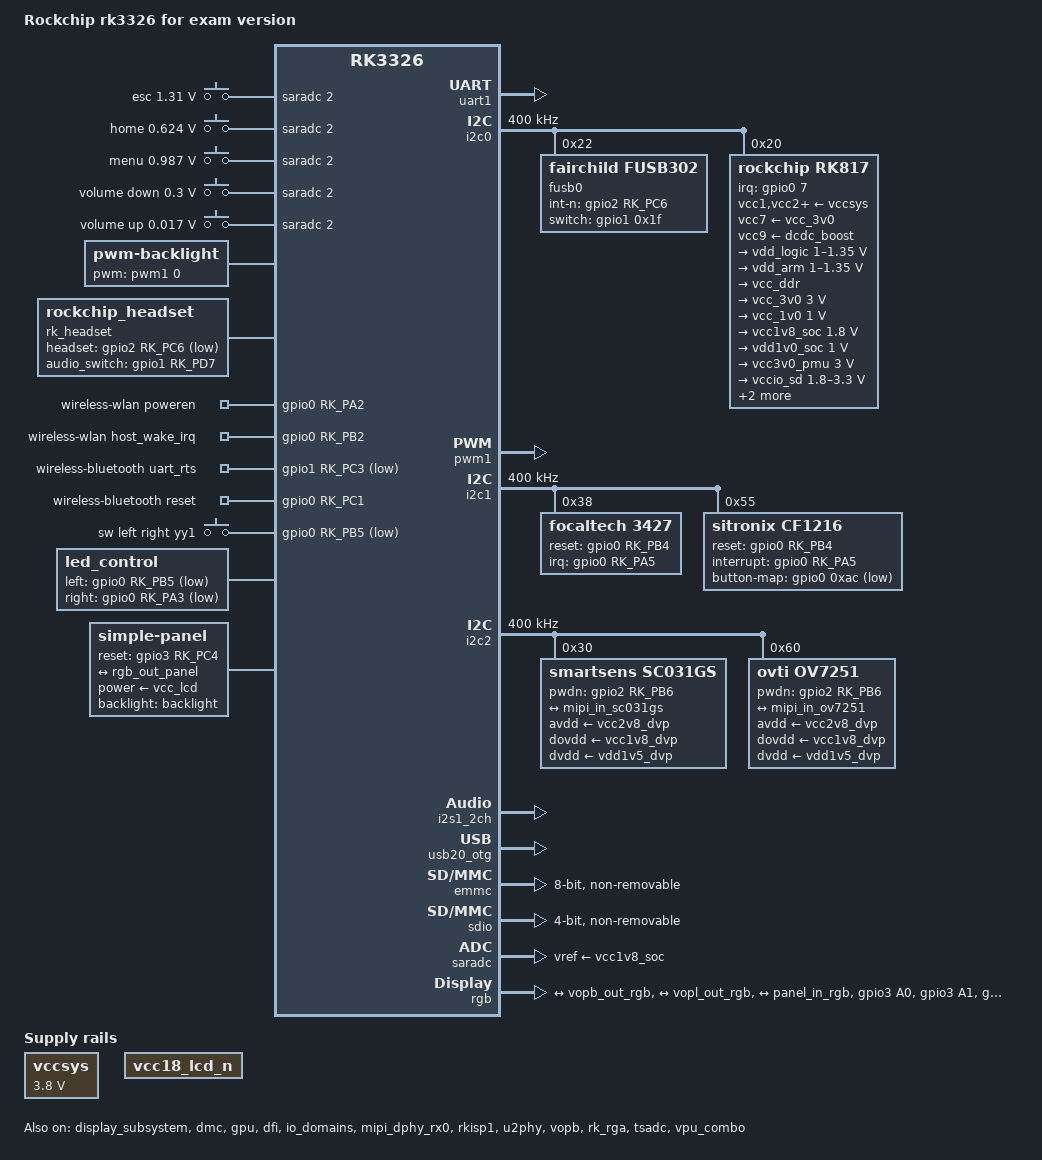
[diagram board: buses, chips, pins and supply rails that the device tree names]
/dts-v1/;
#include <dt-bindings/display/drm_mipi_dsi.h>
#include <dt-bindings/gpio/gpio.h>
#include <dt-bindings/input/input.h>
#include <dt-bindings/pinctrl/rockchip.h>
#include <dt-bindings/sensor-dev.h>
#include "rk3326.dtsi"
#include "rk3326-linux.dtsi"
#include "rk3326-youdao-exam-dram.dtsi"
/ {
	model = "Rockchip rk3326 for exam version";
    compatible = "rockchip,rk3326-youdao-exam","rockchip,rk3326";

	chosen {
		bootargs = "earlycon=uart8250,mmio32,0xff160000 swiotlb=1 console=ttyFIQ0 root=PARTUUID=614e0000-0000 rootfstype=ext4 rootwait snd_aloop.index=7 snd_aloop.use_raw_jiffies=1";
	};

    adc-keys {
		compatible = "adc-keys";
		io-channels = <&saradc 2>;
		io-channel-names = "buttons";
		stop-enter-recovery = <1>;
		poll-interval = <0x100>;
		keyup-threshold-microvolt = <1800000>;

		esc-key {
			linux,code = <KEY_ESC>;
			label = "esc";
			press-threshold-microvolt = <1310000>;
		};

		home-key {
			linux,code = <KEY_HOME>;
			label = "home";
			press-threshold-microvolt = <624000>;
		};

		menu-key {
			linux,code = <KEY_MENU>;
			label = "menu";
			press-threshold-microvolt = <987000>;
		};

		vol-down-key {
			linux,code = <KEY_VOLUMEDOWN>;
			label = "volume down";
			press-threshold-microvolt = <300000>;
		};

		vol-up-key {
			linux,code = <KEY_VOLUMEUP>;
			label = "volume up";
			press-threshold-microvolt = <17000>;
		};
	};

    backlight: backlight {
		compatible = "pwm-backlight";
		pwms = <&pwm1 0 25000 0>;
		brightness-levels = <
			  0   1   2   3   4   5   6   7
			  8   9  10  11  12  13  14  15
			 16  17  18  19  20  21  22  23
			 24  25  26  27  28  29  30  31
			 32  33  34  35  36  37  38  39
			 40  41  42  43  44  45  46  47
			 48  49  50  51  52  53  54  55
			 56  57  58  59  60  61  62  63
			 64  65  66  67  68  69  70  71
			 72  73  74  75  76  77  78  79
			 80  81  82  83  84  85  86  87
			 88  89  90  91  92  93  94  95
			 96  97  98  99 100 101 102 103
			104 105 106 107 108 109 110 111
			112 113 114 115 116 117 118 119
			120 121 122 123 124 125 126 127
			128 129 130 131 132 133 134 135
			136 137 138 139 140 141 142 143
			144 145 146 147 148 149 150 151
			152 153 154 155 156 157 158 159
			160 161 162 163 164 165 166 167
			168 169 170 171 172 173 174 175
			176 177 178 179 180 181 182 183
			184 185 186 187 188 189 190 191
			192 193 194 195 196 197 198 199
			200 201 202 203 204 205 206 207
			208 209 210 211 212 213 214 215
			216 217 218 219 220 221 222 223
			224 225 226 227 228 229 230 231
			232 233 234 235 236 237 238 239
			240 241 242 243 244 245 246 247
			248 249 250 251 252 253 254 255>;
		default-brightness-level = <200>;
	};

    rk817-sound {
		compatible = "simple-audio-card";
		simple-audio-card,format = "i2s";
		simple-audio-card,name = "rockchip,rk817-codec";
		simple-audio-card,mclk-fs = <256>;

        simple-audio-card,widgets =
			"Microphone", "Mic Jack",
			"Headphone", "Headphone Jack";
		simple-audio-card,routing =
			"MIC_IN", "Microphone Jack",
			"IN1P", "Mic Jack",
			"Headphone Jack", "HPOL",
			"Headphone Jack", "HPOR";

		simple-audio-card,cpu {
			sound-dai = <&i2s1_2ch>;
		};

		simple-audio-card,codec {
			sound-dai = <&rk817_codec>;
		};
	};

    rk_headset {
		status = "okay";
		compatible = "rockchip_headset";
		headset_gpio = <&gpio2 RK_PC6 GPIO_ACTIVE_LOW>;
		audio_switch_gpio = <&gpio1 RK_PD7 GPIO_ACTIVE_HIGH>;
		pinctrl-names = "default";
		pinctrl-0 = <&hp_det>;
	};

	sdio_pwrseq: sdio-pwrseq {
		status = "disabled";
	};

	//3326-evb-lp3-v10.dts
	// sdio_pwrseq: sdio-pwrseq {
	// 	compatible = "mmc-pwrseq-simple";
	// 	/*clocks = <&rk817 1>;*/
	// 	/*clock-names = "ext_clock";*/
	// 	pinctrl-names = "default";
	// 	pinctrl-0 = <&wifi_enable_h>;

	// 	/*
	// 	 * On the module itself this is one of these (depending
	// 	 * on the actual card populated):
	// 	 * - SDIO_RESET_L_WL_REG_ON
	// 	 * - PDN (power down when low)
	// 	 */
	// 	reset-gpios = <&gpio0 RK_PA2 GPIO_ACTIVE_LOW>; /* GPIO3_A4 */
	// };

	vccsys: vccsys {
		compatible = "regulator-fixed";
		regulator-name = "vcc3v8_sys";
		regulator-always-on;
		regulator-boot-on;
		regulator-min-microvolt = <3800000>;
		regulator-max-microvolt = <3800000>;
	};

	wireless-wlan {
		compatible = "wlan-platdata";
		wifi_chip_type = "rtl8723ds";
		WIFI,poweren_gpio = <&gpio0 RK_PA2 GPIO_ACTIVE_HIGH>;
		WIFI,host_wake_irq = <&gpio0 RK_PB2 GPIO_ACTIVE_HIGH>;
		status = "okay";
	};

	wireless-bluetooth {
		compatible = "bluetooth-platdata";
		clocks = <&rk817 1>;
		clock-names = "ext_clock";
		uart_rts_gpios = <&gpio1 RK_PC3 GPIO_ACTIVE_LOW>;
		pinctrl-names = "default","rts_gpio";
		pinctrl-0 = <&uart1_rts>;
		pinctrl-1 = <&uart1_rts_gpio>;
		BT,reset_gpio = <&gpio0 RK_PC1 GPIO_ACTIVE_HIGH>;
		status = "okay";
	};

	vcc18_lcd_n: vcc18-lcd-n {
		compatible = "regulator-fixed";
		regulator-name = "vcc18_lcd_n";
		regulator-boot-on;
		enable-active-high;
	};


	gpio-keys {
		status = "okay";
		compatible = "gpio-keys";
		pinctrl-names = "default";
		pinctrl-0 = <&sw_lr>;
		reset-gpio = <&gpio0 RK_PB7 GPIO_ACTIVE_HIGH>;

		swlr {
			gpios = <&gpio0 RK_PB5 GPIO_ACTIVE_LOW>;
			linux,code = <0x86>;
			label = "sw left right yy1";
			debounce-interval = <0x05>;
		};
	};

	led_control {
		status = "okay";
		compatible = "led_control";
		left_gpio = <&gpio0 RK_PB5 GPIO_ACTIVE_LOW>;
		right_gpio = <&gpio0 RK_PA3 GPIO_ACTIVE_LOW>;
		debounce-interval = <0x05>;
	};


	panel: panel {
		compatible = "simple-panel";
		bus-format = <0x1022>;
		backlight = <&backlight>;
		power-supply = <&vcc_lcd>;
		reset-gpios = <&gpio3 RK_PC4 GPIO_ACTIVE_HIGH>;

		reset-value = <0x00>;
		reset-delay-ms = <0x0a>;
		prepare-delay-ms = <0x14>;
		unprepare-delay-ms = <0x14>;
		disable-delay-ms = <0x14>;
		width-mm = <0x17>;
		height-mm = <0x2b>;
		rockchip,output = "rgb";
		rgb-mode = "s888";
		status = "okay";
		rockchip,cmd-type = "mcu";
		panel-init-sequence = <0x780111 0x136 0x1000108 0x13a 0x1000106 0x1b2 0x100010c 0x100010c 0x1000100 0x1000133 0x1000133 0x1b7 0x1000135 0x1bb 0x100011a 0x1c0 0x100012c 0x1c2 0x1000101 0x1c3 0x100010b 0x1c4 0x1000120 0x1c6 0x100010f 0x1d0 0x10001a4 0x10001a1 0x121 0x1e0 0x1000100 0x1000103 0x1000107 0x1000108 0x1000107 0x1000115 0x100012a 0x1000144 0x1000142 0x100010a 0x1000117 0x1000118 0x1000125 0x1000127 0x1e1 0x1000100 0x1000103 0x1000108 0x1000107 0x1000107 0x1000123 0x100012a 0x1000143 0x1000142 0x1000109 0x1000118 0x1000117 0x1000125 0x1000127 0x129 0x12a 0x1000100 0x1000123 0x1000100 0x10001cc 0x12b 0x1000100 0x1000100 0x1000101 0x100013f 0x12c>;

		display-timings {
			native-mode = <&ST7789V2_timing>;

			ST7789V2_timing: timing0 {
				clock-frequency = <0x5f5e100>;
				hactive = <0xaa>;
				vactive = <0x140>;
				hback-porch = <0x0a>;
				hfront-porch = <0x05>;
				vback-porch = <0x0a>;
				vfront-porch = <0x05>;
				hsync-len = <0x0a>;
				vsync-len = <0x0a>;
				hsync-active = <0x00>;
				vsync-active = <0x00>;
				de-active = <0x00>;
				pixelclk-active = <0x00>;
			};
		};

		port {

			panel_in_rgb: endpoint {
				remote-endpoint = <&rgb_out_panel>;
			};
		};
	};

};

&bus_apll {
	bus-supply = <&vdd_logic>;
	status = "okay";
};

&display_subsystem {
	compatible = "rockchip,display-subsystem";
	status = "okay";

	route {

		route-lvds {
			status = "disabled";
		};

		route-dsi {
			status = "disabled";
		};

		route-rgb {
			connect = <&vopb_out_rgb>;
			status = "okay";
		};
	};
};

&cif_new {
	status = "disabled";
};

&cpu0 {
	cpu-supply = <&vdd_arm>;
};

&dsi {
	status = "disabled";
};

&dmc {
	ddr_timing=<&ydp_ddr_timing>;
	center-supply = <&vdd_logic>;
	status = "okay";
};

&gpu {
	mali-supply = <&vdd_logic>;
	status = "okay";
};


&dfi {
	status = "okay";
};

&dsi_in_vopb {
	status = "disabled";
};

&dsi_in_vopl {
	status = "disabled";
};

&uart1 {
	pinctrl-names = "default";
	pinctrl-0 = <&uart1_xfer &uart1_cts>;
	status = "okay";
};
/// 230713
// Power IC
&i2c0 {
	status = "okay";
	clock-frequency = <400000>;
	i2c-scl-rising-time-ns = <280>;
	i2c-scl-falling-time-ns = <16>;

	fusb0: fusb30x@22 {
		compatible = "fairchild,fusb302";
		reg = <0x22>;//i2c reg
		pinctrl-names = "default";

		pinctrl-0 = <&fusb0_int>;
		int-n-gpios = <&gpio2 RK_PC6 0x00>;
		switch-gpios = <&gpio1 0x1f 0x00>;
		extcon = <0x64>;
		status = "okay";
	};

	rk817: pmic@20 {
		compatible = "rockchip,rk817";
		#clock-cells = <0x01>;
		reg = <0x20>;

		interrupt-parent = <&gpio0>;
		interrupts = <7 IRQ_TYPE_LEVEL_LOW>;
		pinctrl-names = "default", "pmic-sleep",
				"pmic-power-off", "pmic-reset";

		pinctrl-0 = <&pmic_int>;
		pinctrl-1 = <&soc_slppin_slp>, <&rk817_slppin_slp>;
		pinctrl-2 = <&soc_slppin_gpio>, <&rk817_slppin_pwrdn>;
		pinctrl-3 = <&soc_slppin_rst>, <&rk817_slppin_rst>;

		clock-output-names = "rk808-clkout1", "rk808-clkout2";

		rockchip,system-power-controller;
		wakeup-source;

		pmic-reset-func = <1>;

		vcc1-supply = <&vccsys>;
		vcc2-supply = <&vccsys>;
		vcc3-supply = <&vccsys>;
		vcc4-supply = <&vccsys>;
		vcc5-supply = <&vccsys>;
		vcc6-supply = <&vccsys>;
		vcc7-supply = <&vcc_3v0>;
		vcc8-supply = <&vccsys>;
		vcc9-supply = <&dcdc_boost>;

		pwrkey {
			status = "okay";
		};

		pinctrl_rk8xx: pinctrl_rk8xx {
			gpio-controller;
			#gpio-cells = <2>;

			rk817_ts_gpio1: rk817_ts_gpio1 {
				pins = "gpio_ts";
				function = "pin_fun1";
			};

			rk817_gt_gpio2: rk817_gt_gpio2 {
				pins = "gpio_gt";
				function = "pin_fun1";
			};

			rk817_pin_ts: rk817_pin_ts {
				pins = "gpio_ts";
				function = "pin_fun0";
			};

			rk817_pin_gt: rk817_pin_gt {
				pins = "gpio_gt";
				function = "pin_fun0";
			};

			rk817_slppin_null: rk817_slppin_null {
				pins = "gpio_slp";
				function = "pin_fun0";
			};

			rk817_slppin_slp: rk817_slppin_slp {
				pins = "gpio_slp";
				function = "pin_fun1";
			};

			rk817_slppin_pwrdn: rk817_slppin_pwrdn {
				pins = "gpio_slp";
				function = "pin_fun2";
			};

			rk817_slppin_rst: rk817_slppin_rst {
				pins = "gpio_slp";
				function = "pin_fun3";
			};
		};

		regulators {

			vdd_logic: DCDC_REG1 {
				regulator-always-on;
				regulator-boot-on;
				regulator-min-microvolt = <1000000>;
				regulator-max-microvolt = <1350000>;
				regulator-ramp-delay = <6001>;
				regulator-initial-mode = <0x02>;
				regulator-name = "vdd_logic";

				regulator-state-mem {
					regulator-on-in-suspend;
					regulator-suspend-microvolt = <1000000>;
				};
			};

			vdd_arm: DCDC_REG2 {
				regulator-always-on;
				regulator-boot-on;
				regulator-min-microvolt = <1000000>;
				regulator-max-microvolt = <1350000>;
				regulator-ramp-delay = <6001>;
				regulator-initial-mode = <0x2>;
				regulator-name = "vdd_arm";

				regulator-state-mem {
					regulator-off-in-suspend;
					regulator-suspend-microvolt = <1000000>;
				};
			};

			vcc_ddr: DCDC_REG3 {
				regulator-always-on;
				regulator-boot-on;
				regulator-initial-mode = <0x2>;
				regulator-name = "vcc_ddr";

				regulator-state-mem {
					regulator-on-in-suspend;
				};
			};

			vcc_3v0: DCDC_REG4 {
				regulator-always-on;
				regulator-boot-on;
				regulator-min-microvolt = <3000000>;
				regulator-max-microvolt = <3000000>;
				regulator-initial-mode = <0x2>;
				regulator-name = "vcc_3v0";

				regulator-state-mem {
					regulator-off-in-suspend;
					regulator-suspend-microvolt = <3000000>; //From rk-evb
				};
			};

			vcc_1v0: LDO_REG1 {
				regulator-always-on;
				regulator-boot-on;
				regulator-min-microvolt = <1000000>;
				regulator-max-microvolt = <1000000>;
				regulator-name = "vcc_1v0";

				regulator-state-mem {
					regulator-on-in-suspend;
					regulator-suspend-microvolt = <1000000>;
				};
			};

			vcc1v8_soc: LDO_REG2 {
				regulator-always-on;
				regulator-boot-on;
				regulator-min-microvolt = <1800000>;
				regulator-max-microvolt = <1800000>;
				regulator-name = "vcc1v8_soc";

				regulator-state-mem {
					regulator-on-in-suspend;
					regulator-suspend-microvolt = <1800000>;
				};
			};

			vdd1v0_soc: LDO_REG3 {
				regulator-always-on;
				regulator-boot-on;
				regulator-min-microvolt = <1000000>;
				regulator-max-microvolt = <1000000>;
				regulator-name = "vcc1v0_soc";

				regulator-state-mem {
					regulator-on-in-suspend;
					regulator-suspend-microvolt = <1000000>;
				};
			};

			vcc3v0_pmu: LDO_REG4 {
				regulator-always-on;
				regulator-boot-on;
				regulator-min-microvolt = <3000000>;
				regulator-max-microvolt = <3000000>;
				regulator-name = "vcc3v0_pmu";

				regulator-state-mem {
					regulator-on-in-suspend;
					regulator-suspend-microvolt = <3000000>;
				};
			};

			vccio_sd: LDO_REG5 {
				regulator-always-off;
				regulator-boot-off;
				regulator-min-microvolt = <1800000>;
				regulator-max-microvolt = <3300000>;
				regulator-name = "vccio_sd";

				regulator-state-mem {
					regulator-off-in-suspend;
					regulator-suspend-microvolt = <3300000>;
				};
			};

			vcc_lcd: LDO_REG6 {
				regulator-min-microvolt = <3300000>;
				regulator-max-microvolt = <3300000>;


				regulator-name = "vcc_lcd";
				regulator-state-mem {
					regulator-off-in-suspend;
					regulator-suspend-microvolt = <3300000>;

				};
			};

			vcc2v8_dvp: LDO_REG7 {
				regulator-always-on;
				regulator-boot-on;
				regulator-min-microvolt = <2800000>;
				regulator-max-microvolt = <2800000>;

				regulator-name = "vcc2v8_dvp";
				regulator-state-mem {
					regulator-off-in-suspend;
					regulator-suspend-microvolt = <2800000>;
				};
			};

			vcc1v8_dvp: LDO_REG8 {
				regulator-always-on;
				regulator-boot-on;
				regulator-min-microvolt = <1800000>;
				regulator-max-microvolt = <1800000>;

				regulator-name = "vcc1v8_dvp";
				regulator-state-mem {
					regulator-off-in-suspend;
					regulator-suspend-microvolt = <1800000>;
				};
			};

			vdd1v5_dvp: LDO_REG9 {
				regulator-always-on;
				regulator-boot-on;
				regulator-min-microvolt = <1500000>;
				regulator-max-microvolt = <1500000>;

				regulator-name = "vdd1v5_dvp";
				regulator-state-mem {
					regulator-off-in-suspend;
					regulator-suspend-microvolt = <1500000>;
				};
			};

			dcdc_boost: BOOST {
				regulator-always-on;
				regulator-boot-on;
				regulator-min-microvolt = <5000000>;
				regulator-max-microvolt = <5000000>;
				regulator-name = "boost";
			};

			otg_switch: OTG_SWITCH {
				regulator-boot-on;
				regulator-name = "otg_switch";
			};
		};

		//Battery INFO
		battery {
			compatible = "rk817,battery";

			ntc_table = <0xa5d2 0x977c 0x8a84 0x7ecc 0x7436 0x6a90 0x61da 0x59ec 0x52b2 0x4c22 0x4628 0x40ba 0x3bba 0x3732 0x330e 0x2f3a 0x2bc0 0x288c 0x25a1 0x22f1 0x2078 0x1e32 0x1c1a 0x1a2c 0x1865 0x16c2 0x153e 0x13d8 0x128d 0x115a 0x103e 0xf37 0xe43 0xd61 0xc8f 0xbcb 0xb15>;
			ntc_degree_from = <0x01 0x0a>;
			ocv_table = <0xd55 0xde5 0xe29 0xe49 0xe69 0xe80 0xe8e 0xea0 0xeb4 0xecc 0xee9 0xf0d 0xf33 0xf5f 0xfa4 0xfd3 0x100c 0x1045 0x107c 0x10b9 0x10fb>;

			design_capacity = <980>;
			design_qmax = <1000>;
			bat_res = <120>;
			sleep_enter_current = <30>;
			sleep_exit_current = <30>;
			sleep_filter_current = <20>;

			power_off_thresd = <3400>;
			zero_algorithm_vol = <3800>;
			max_soc_offset = <60>;
			monitor_sec = <5>;
			sample_res = <10>;
			virtual_power = <0>;
			drv_version = <5>;
		};

		charger {
			status = "okay";

			compatible = "rk817,charger";
			min_input_voltage = <4500>;
			max_input_current = <1500>;
			max_chrg_current = <2000>;
			max_chrg_voltage = <4400>;

			chrg_term_mode = <0>;
			chrg_finish_cur = <165>;

			virtual_power = <0>;
			dc_det_adc = <0>;
			extcon = <&fusb0>;

			otg5v_suspend_enable = <0>;
		};

		rk817_codec: codec {
			#sound-dai-cells = <0>;
			compatible = "rockchip,rk817-codec";
			clocks = <&cru SCLK_I2S1_OUT>;
			clock-names = "mclk";

			pinctrl-names = "default";
			pinctrl-0 = <&i2s1_2ch_mclk>;
			hp-volume = <20>;
			spk-volume = <3>;
			status = "okay";
		};
	};


};
///230714
&io_domains {
	status = "okay";

	vccio1-supply = <&vcc1v8_soc>;
	vccio2-supply = <&vccio_sd>;
	vccio3-supply = <&vcc1v8_dvp>;
	vccio4-supply = <&vcc1v8_soc>;
	vccio5-supply = <&vcc_3v0>;
};

&pmu_io_domains {
	status = "okay";

	pmuio1-supply = <&vcc3v0_pmu>;
	pmuio2-supply = <&vcc3v0_pmu>;
};

&pwm1 {
	status = "okay";
};
//Touchscreen
&i2c1 {
	status = "okay";

	clock-frequency = <400000>;
	i2c-scl-rising-time-ns = <275>;
	i2c-scl-falling-time-ns = <16>;

	focaltech@38 {
		status = "okay";
		compatible = "focaltech,3427";
		reg = <0x38>;
		focaltech,name = "ft3x27";
		focaltech,fw-name = "ft_fw.bin";
		focaltech,family-id = <0x54>;

		focaltech,reset-gpio = <&gpio0 RK_PB4 GPIO_ACTIVE_HIGH>;
		focaltech,irq-gpio = <&gpio0 RK_PA5 IRQ_TYPE_LEVEL_LOW>;

		focaltech,display-coords = <0x00 0x00 0xaa 0x140>;
		focaltech,panel-coords = <0x00 0x00 0xaa 0x140>;
		focaltech,button-map = <0x8b 0x66 0x9e>;

		focaltech,group-id = <1>;

		focaltech,hard-reset-delay-ms = <20>;
		focaltech,soft-reset-delay-ms = <200>;

		focaltech,num-max-touches = <1>;
		focaltech,fw-delay-aa-ms = <0x1e>;
		focaltech,fw-delay-55-ms = <0x1e>;
		focaltech,fw-upgrade-id1 = <0x79>;
		focaltech,fw-upgrade-id2 = <0x18>;
		focaltech,fw-delay-readid-ms = <0x0a>;
		focaltech,fw-delay-era-flsh-ms = <0x7d0>;

		focaltech,no-force-update;
		focaltech,i2c-pull-up;
		focaltech,fw-auto-cal;
		focaltech,ignore-id-check;
	};

	sitronix@55 {
		status = "okay";
		compatible = "sitronix,cf1216";
		reg = <0x55>;

		sitronix,reset-gpios = <&gpio0 RK_PB4 GPIO_ACTIVE_HIGH>;
		sitronix,interrupt-gpios = <&gpio0 RK_PA5 IRQ_TYPE_LEVEL_LOW>;
		//??
		sitronix,button-map = <&gpio0 0xac 0x8b>;
	};

};

//Camera
&i2c2{
	status = "okay";
	clock-frequency = <400000>;

	/* 24M mclk is shared for multiple cameras */
	pinctrl-0 = <&i2c2_xfer &cif_clkout_m0>;

	/* These are relatively safe rise/fall times; TODO: measure */
	i2c-scl-falling-time-ns = <50>;
	i2c-scl-rising-time-ns = <300>;

	sc031gs:sc031gs@30 {
		status = "okay";
		compatible = "smartsens,sc031gs";
		reg = <0x30>;

		clocks = <&cru SCLK_CIF_OUT>;
		clock-names = "xvclk";

		avdd-supply = <&vcc2v8_dvp>;
		dovdd-supply = <&vcc1v8_dvp>;
		dvdd-supply = <&vdd1v5_dvp>;

		pwdn-gpios = <&gpio2 RK_PB6 GPIO_ACTIVE_HIGH>;

		port {

			sc031gs_out:endpoint {
				remote-endpoint = <&mipi_in_sc031gs>;
				data-lanes = <1>;
			};
		};
	};

	ov7251: ov7251@60 {
		status = "okay";
		compatible = "ovti,ov7251";
		reg = <0x60>;

		clocks = <&cru SCLK_CIF_OUT>;
		clock-names = "xvclk";

		avdd-supply = <&vcc2v8_dvp>;
		dovdd-supply = <&vcc1v8_dvp>;
		dvdd-supply = <&vdd1v5_dvp>;

		pwdn-gpios = <&gpio2 RK_PB6 GPIO_ACTIVE_HIGH>;

		port {

			ov7251_out:endpoint {
				remote-endpoint = <&mipi_in_ov7251>;
				data-lanes = <1>;
			};
		};
	};
};
//<---
&isp_mmu {
	status = "okay";
};

&mipi_dphy_rx0{
	status = "okay";
};

&rkisp1 {
	status = "okay";

	port {
		#address-cells = <1>;
		#size-cells = <0>;

		isp0_mipi_in: endpoint@0 {
			reg = <0>;
			remote-endpoint = <&dphy_rx0_out>;
		};
	};
};

//Other IO
&i2s1_2ch {
	status = "okay";
	#sound-dai-cells = <0>;
};

&sdmmc {
	bus-width = <4>;
	cap-mmc-highspeed;
	cap-sd-highspeed;
	supports-sd;
	card-detect-delay = <800>;
	ignore-pm-notify;
	/*cd-gpios = <&gpio2 4 GPIO_ACTIVE_HIGH>; [> CD GPIO <]*/
	sd-uhs-sdr12;
	sd-uhs-sdr25;
	sd-uhs-sdr50;
	sd-uhs-sdr104;
	vqmmc-supply = <&vccio_sd>;
	vmmc-supply = <&vcc_lcd>;
	status = "disabled";
};

&usb20_otg {
	status = "okay";
};


&emmc {

	bus-width = <8>;
	cap-mmc-highspeed;
	mmc-hs200-1_8v;
	supports-emmc;
	disable-wp;
	non-removable;

	num-slots = <1>;
	status = "okay";
};

&sdio {
	bus-width = <4>;
	mmc-pwrseq = <&sdio_pwrseq>;

	cap-sd-highspeed;
	supports-sdio;
	ignore-pm-notify;
	keep-power-in-suspend;
	non-removable;
	sd-uhs-sdr104;

	status = "okay";
};

&rockchip_suspend {
	status = "okay";
	rockchip,sleep-debug-en = <1>;
};

&u2phy {
	status = "okay";

	u2phy_host: host-port {
		status = "okay";
	};

	u2phy_otg: otg-port {
		status = "okay";
	};
};

&vip_mmu {
	status = "okay";
};

&vopb {
	status = "okay";
};

&vopb_mmu {
	status = "okay";
};

&rk_rga {
	status = "okay";
};

&saradc {
	status = "okay";
	vref-supply = <&vcc1v8_soc>;
};

&tsadc {
	pinctrl-names = "gpio", "otpout";
	pinctrl-0 = <&tsadc_otp_gpio>;
	pinctrl-1 = <&tsadc_otp_out>;
	status = "okay";
};


//Video Encoding
&vpu_combo {
	status = "okay";
};

//Pinctrl
&pinctrl {
	cif-pin-m0 {
		cif_pin_m0: cif-pin-m0 {
			rockchip,pins =
				<2 RK_PA0 RK_FUNC_1 &pcfg_pull_none>,/* cif_data2 */
				<2 RK_PA1 RK_FUNC_1 &pcfg_pull_none>,/* cif_data3 */
				<2 RK_PA2 RK_FUNC_1 &pcfg_pull_none>,/* cif_data4 */
				<2 RK_PA3 RK_FUNC_1 &pcfg_pull_none>,/* cif_data5 */
				<2 RK_PA4 RK_FUNC_1 &pcfg_pull_none>,/* cif_data6 */
				<2 RK_PA5 RK_FUNC_1 &pcfg_pull_none>,/* cif_data7 */
				<2 RK_PA6 RK_FUNC_1 &pcfg_pull_none>,/* cif_data8 */
				<2 RK_PA7 RK_FUNC_1 &pcfg_pull_none>,/* cif_data9 */
				<2 RK_PB0 RK_FUNC_1 &pcfg_pull_none>,/* cif_sync */
				<2 RK_PB1 RK_FUNC_1 &pcfg_pull_none>,/* cif_href */
				<2 RK_PB2 RK_FUNC_1 &pcfg_pull_none>;/* cif_clkin */
		};
	};

	cif-m0 {
		cif-clkout-m0 {
            rockchip,pins = <2 RK_PB3 RK_FUNC_1 &pcfg_pull_none>;/* cif_clkout */
        };
	};

	sdio{

		sdio-clk {
            rockchip,pins = <1 RK_PC5 RK_FUNC_1 &pcfg_pull_none_4ma>;
        };

	};

	pmic {
		pmic_int: pmic-int {
			rockchip,pins =
				<0 RK_PA7 RK_FUNC_GPIO &pcfg_pull_up>;
		};

		soc_slppin_gpio:soc-slppin-gpio {
            rockchip,pins = <0 RK_PA4 RK_FUNC_GPIO &pcfg_output_low>;

        };

		soc_slppin_slp: soc-slppin-slp {
			rockchip,pins =
				<0 RK_PA4 RK_FUNC_1 &pcfg_pull_none>;
		};

		soc_slppin_rst: soc-slppin-rst {
			rockchip,pins =
				<0 RK_PA4 RK_FUNC_2 &pcfg_pull_none>;
		};
	};

	sdio-pwrseq {
		wifi_enable_h: wifi-enable-h {
			rockchip,pins = <0 RK_PA2 RK_FUNC_GPIO &pcfg_pull_none>;
		};
	};
///----
	//New
	headphone {

        hp_det: hp-det {
            rockchip,pins = <2 RK_PC6 RK_FUNC_GPIO &pcfg_pull_down>;

        };
    };

    buttons {

        sw_lr: sw-lr {
            rockchip,pins =
				<0 RK_PB5 RK_FUNC_GPIO &pcfg_pull_up>,
				<0 RK_PA3 RK_FUNC_GPIO &pcfg_pull_up>,
				<2 RK_PB7 RK_FUNC_GPIO &pcfg_pull_down>;
        };
    };

	flash {
		flash_bus8: flash-bus8 {
            rockchip,pins =
				<1 RK_PA0 RK_FUNC_1 &pcfg_pull_up_12ma>,
				<1 RK_PA1 RK_FUNC_1 &pcfg_pull_up_12ma>,
				<1 RK_PA2 RK_FUNC_1 &pcfg_pull_up_12ma>,
				<1 RK_PA3 RK_FUNC_1 &pcfg_pull_up_12ma>,
				<1 RK_PA4 RK_FUNC_1 &pcfg_pull_up_12ma>,
				<1 RK_PA5 RK_FUNC_1 &pcfg_pull_up_12ma>,
				<1 RK_PA6 RK_FUNC_1 &pcfg_pull_up_12ma>,
				<1 RK_PA7 RK_FUNC_1 &pcfg_pull_up_12ma>;
        };
	};

	lcdc {
		lcdc_rgb_dclk_pin: lcdc-rgb-dclk-pin {
            rockchip,pins = <3 RK_PA0 RK_FUNC_1 &pcfg_pull_none_12ma>;

        };

        lcdc_rgb_m0_hsync_pin: lcdc-rgb-m0-hsync-pin {
            rockchip,pins = <3 RK_PA1 RK_FUNC_1 &pcfg_pull_none_12ma>;

        };

        lcdc_rgb_m0_vsync_pin: lcdc-rgb-m0-vsync-pin {
            rockchip,pins = <3 RK_PA2 RK_FUNC_1 &pcfg_pull_none_12ma>;

        };

        lcdc_rgb_m0_den_pin: lcdc-rgb-m0-den-pin {
            rockchip,pins = <3 RK_PA3 RK_FUNC_1 &pcfg_pull_none_12ma>;

        };

        lcdc_rgb888_m0_data_pins:lcdc-rgb888-m0-data-pins {
            rockchip,pins =
				<3 RK_PA7 RK_FUNC_1 &pcfg_pull_none_8ma>,
				<3 RK_PA6 RK_FUNC_1 &pcfg_pull_none_8ma>,
				<3 RK_PA5 RK_FUNC_1 &pcfg_pull_none_8ma>,
				<3 RK_PA4 RK_FUNC_1 &pcfg_pull_none_8ma>,
				<3 RK_PB3 RK_FUNC_1 &pcfg_pull_none_8ma>,
				<3 RK_PB2 RK_FUNC_1 &pcfg_pull_none_8ma>,
				<3 RK_PB1 RK_FUNC_1 &pcfg_pull_none_8ma>,
				<3 RK_PB0 RK_FUNC_1 &pcfg_pull_none_8ma>,
				<3 RK_PB7 RK_FUNC_1 &pcfg_pull_none_8ma>,
				<3 RK_PB6 RK_FUNC_1 &pcfg_pull_none_8ma>,
				<3 RK_PB5 RK_FUNC_1 &pcfg_pull_none_8ma>,
				<3 RK_PB4 RK_FUNC_1 &pcfg_pull_none_8ma>,
				<3 RK_PC3 RK_FUNC_1 &pcfg_pull_none_8ma>,
				<3 RK_PC2 RK_FUNC_1 &pcfg_pull_none_8ma>,
				<3 RK_PC1 RK_FUNC_1 &pcfg_pull_none_8ma>,
				<3 RK_PC0 RK_FUNC_1 &pcfg_pull_none_8ma>,
				<3 RK_PC7 RK_FUNC_1 &pcfg_pull_none_8ma>,
				<3 RK_PC6 RK_FUNC_1 &pcfg_pull_none_8ma>,
				<3 RK_PC5 RK_FUNC_1 &pcfg_pull_none_8ma>,
				<3 RK_PC4 RK_FUNC_1 &pcfg_pull_none_8ma>,
				<3 RK_PD3 RK_FUNC_1 &pcfg_pull_none_8ma>,
				<3 RK_PD2 RK_FUNC_1 &pcfg_pull_none_8ma>,
				<3 RK_PD1 RK_FUNC_1 &pcfg_pull_none_8ma>,
				<3 RK_PD0 RK_FUNC_1 &pcfg_pull_none_8ma>;

        };

        lcdc_rgb666_m0_data_pins: lcdc-rgb666-m0-data-pins {
            rockchip,pins =
				<3 RK_PA7 RK_FUNC_1 &pcfg_pull_none_8ma>,
				<3 RK_PA6 RK_FUNC_1 &pcfg_pull_none_8ma>,
				<3 RK_PA5 RK_FUNC_1 &pcfg_pull_none_8ma>,
				<3 RK_PA4 RK_FUNC_1 &pcfg_pull_none_8ma>,
				<3 RK_PB3 RK_FUNC_1 &pcfg_pull_none_8ma>,
				<3 RK_PB2 RK_FUNC_1 &pcfg_pull_none_8ma>,
				<3 RK_PB1 RK_FUNC_1 &pcfg_pull_none_8ma>,
				<3 RK_PB0 RK_FUNC_1 &pcfg_pull_none_8ma>,
				<3 RK_PB7 RK_FUNC_1 &pcfg_pull_none_8ma>,
				<3 RK_PB6 RK_FUNC_1 &pcfg_pull_none_8ma>,
				<3 RK_PB5 RK_FUNC_1 &pcfg_pull_none_8ma>,
				<3 RK_PB4 RK_FUNC_1 &pcfg_pull_none_8ma>,
				<3 RK_PC3 RK_FUNC_1 &pcfg_pull_none_8ma>,
				<3 RK_PC2 RK_FUNC_1 &pcfg_pull_none_8ma>,
				<3 RK_PC1 RK_FUNC_1 &pcfg_pull_none_8ma>,
				<3 RK_PC0 RK_FUNC_1 &pcfg_pull_none_8ma>,
				<3 RK_PC5 RK_FUNC_1 &pcfg_pull_none_8ma>,
				<3 RK_PC4 RK_FUNC_1 &pcfg_pull_none_8ma>;

        };

        lcdc_rgb565_m0_data_pins: lcdc-rgb565-m0-data-pins {
            rockchip,pins =
				<3 RK_PA7 RK_FUNC_1 &pcfg_pull_none_8ma>,
				<3 RK_PA6 RK_FUNC_1 &pcfg_pull_none_8ma>,
				<3 RK_PA5 RK_FUNC_1 &pcfg_pull_none_8ma>,
				<3 RK_PA4 RK_FUNC_1 &pcfg_pull_none_8ma>,
				<3 RK_PB3 RK_FUNC_1 &pcfg_pull_none_8ma>,
				<3 RK_PB2 RK_FUNC_1 &pcfg_pull_none_8ma>,
				<3 RK_PB1 RK_FUNC_1 &pcfg_pull_none_8ma>,
				<3 RK_PB0 RK_FUNC_1 &pcfg_pull_none_8ma>,
				<3 RK_PB7 RK_FUNC_GPIO &pcfg_pull_down>,
				<3 RK_PC0 RK_FUNC_GPIO &pcfg_pull_down>;

        };

        lcdc_rgb888_m1_data_pins: lcdc-rgb888-m1-data-pins {
            rockchip,pins =
				<3 RK_PA6 RK_FUNC_1 &pcfg_pull_none_8ma>,
				<3 RK_PA4 RK_FUNC_1 &pcfg_pull_none_8ma>,
				<3 RK_PB3 RK_FUNC_1 &pcfg_pull_none_8ma>,
				<3 RK_PB2 RK_FUNC_1 &pcfg_pull_none_8ma>,
				<3 RK_PB5 RK_FUNC_1 &pcfg_pull_none_8ma>,
				<3 RK_PC3 RK_FUNC_1 &pcfg_pull_none_8ma>,
				<3 RK_PC2 RK_FUNC_1 &pcfg_pull_none_8ma>,
				<3 RK_PC1 RK_FUNC_1 &pcfg_pull_none_8ma>,
				<3 RK_PC0 RK_FUNC_1 &pcfg_pull_none_8ma>,
				<3 RK_PC7 RK_FUNC_1 &pcfg_pull_none_8ma>,
				<3 RK_PC6 RK_FUNC_1 &pcfg_pull_none_8ma>,
				<3 RK_PC5 RK_FUNC_1 &pcfg_pull_none_8ma>,
				<3 RK_PC4 RK_FUNC_1 &pcfg_pull_none_8ma>,
				<3 RK_PD3 RK_FUNC_1 &pcfg_pull_none_8ma>,
				<3 RK_PD2 RK_FUNC_1 &pcfg_pull_none_8ma>,
				<3 RK_PD1 RK_FUNC_1 &pcfg_pull_none_8ma>,
				<3 RK_PD0 RK_FUNC_1 &pcfg_pull_none_8ma>;

        };

        lcdc_rgb666_m1_data_pins: lcdc-rgb666-m1-data-pins {
            rockchip,pins =
				<3 RK_PA6 RK_FUNC_1 &pcfg_pull_none_8ma>,
				<3 RK_PA4 RK_FUNC_1 &pcfg_pull_none_8ma>,
				<3 RK_PB3 RK_FUNC_1 &pcfg_pull_none_8ma>,
				<3 RK_PB2 RK_FUNC_1 &pcfg_pull_none_8ma>,
				<3 RK_PB5 RK_FUNC_1 &pcfg_pull_none_8ma>,
				<3 RK_PC3 RK_FUNC_1 &pcfg_pull_none_8ma>,
				<3 RK_PC2 RK_FUNC_1 &pcfg_pull_none_8ma>,
				<3 RK_PC1 RK_FUNC_1 &pcfg_pull_none_8ma>,
				<3 RK_PC0 RK_FUNC_1 &pcfg_pull_none_8ma>,
				<3 RK_PC5 RK_FUNC_1 &pcfg_pull_none_8ma>,
				<3 RK_PC4 RK_FUNC_1 &pcfg_pull_none_8ma>;

        };

        lcdc_rgb565_m1_data_pins: lcdc-rgb565-m1-data-pins {
            rockchip,pins =
				<3 RK_PA6 RK_FUNC_1 &pcfg_pull_none_8ma>,
				<3 RK_PA4 RK_FUNC_1 &pcfg_pull_none_8ma>,
				<3 RK_PB3 RK_FUNC_1 &pcfg_pull_none_8ma>,
				<3 RK_PB2 RK_FUNC_1 &pcfg_pull_none_8ma>,
				<3 RK_PB5 RK_FUNC_1 &pcfg_pull_none_8ma>,
				<3 RK_PC3 RK_FUNC_1 &pcfg_pull_none_8ma>,
				<3 RK_PC2 RK_FUNC_1 &pcfg_pull_none_8ma>,
				<3 RK_PC1 RK_FUNC_1 &pcfg_pull_none_8ma>,
				<3 RK_PC0 RK_FUNC_1 &pcfg_pull_none_8ma>;

        };
	};

	gmac {
		rmii-pins {
            rockchip,pins =
				<2 RK_PA0 RK_FUNC_2 &pcfg_pull_none_12ma>,
				<2 RK_PA1 RK_FUNC_2 &pcfg_pull_none_12ma>,
				<2 RK_PA2 RK_FUNC_2 &pcfg_pull_none_12ma>,
				<2 RK_PA3 RK_FUNC_2 &pcfg_pull_none>,
				<2 RK_PA4 RK_FUNC_2 &pcfg_pull_none>,
				<2 RK_PA5 RK_FUNC_2 &pcfg_pull_none>,
				<2 RK_PA6 RK_FUNC_2 &pcfg_pull_none>,
				<2 RK_PA7 RK_FUNC_2 &pcfg_pull_none>,
				<2 RK_PB1 RK_FUNC_2 &pcfg_pull_none>;

        };

        mac_refclk_12ma: mac-refclk-12ma {
            rockchip,pins = <2 RK_PB2 RK_FUNC_2 &pcfg_pull_none_12ma>;

        };
	};

	fusb30x {

        fusb0_int: fusb0-int {
            rockchip,pins = <2 RK_PC6 RK_FUNC_GPIO &pcfg_pull_up>;

        };
    };

    rgb-pin-m0 {

        rgb_pin_m0: rgb-pin-m0 {
            rockchip,pins =
			<3 RK_PA0 RK_FUNC_1 &pcfg_pull_none>,
			<3 RK_PA1 RK_FUNC_1 &pcfg_pull_none>,
			<3 RK_PA2 RK_FUNC_1 &pcfg_pull_none>,
			<3 RK_PA3 RK_FUNC_1 &pcfg_pull_none>;

        };
    };

    lcdc-m0-sleep-pins {

        lcdc-m0-sleep-pins {
            rockchip,pins =
			<3 RK_PA0 RK_FUNC_GPIO &pcfg_pull_down>,
			<3 RK_PA1 RK_FUNC_GPIO &pcfg_pull_down>,
			<3 RK_PA2 RK_FUNC_GPIO &pcfg_pull_down>,
			<3 RK_PA3 RK_FUNC_GPIO &pcfg_pull_down>,
			<3 RK_PA7 RK_FUNC_GPIO &pcfg_pull_down>,
			<3 RK_PA6 RK_FUNC_GPIO &pcfg_pull_down>,
			<3 RK_PA5 RK_FUNC_GPIO &pcfg_pull_down>,
			<3 RK_PA4 RK_FUNC_GPIO &pcfg_pull_down>,
			<3 RK_PB3 RK_FUNC_GPIO &pcfg_pull_down>,
			<3 RK_PB2 RK_FUNC_GPIO &pcfg_pull_down>,
			<3 RK_PB1 RK_FUNC_GPIO &pcfg_pull_down>,
			<3 RK_PB0 RK_FUNC_GPIO &pcfg_pull_down>;

        };
    };
};

//Display

&mipi_dphy_rx0 {
	status = "okay";

	ports {
		#address-cells = <1>;
		#size-cells = <0>;

		port@0 {
			reg = <0>;
			#address-cells = <1>;
			#size-cells = <0>;

			mipi_in_ov7251: endpoint@0 {
				reg = <0>;
				remote-endpoint = <&ov7251_out>;
				data-lanes = <1>;
			};

			mipi_in_sc031gs: endpoint@1 {
				reg = <1>;
				remote-endpoint = <&sc031gs_out>;
				data-lanes = <1>;
			};
		};

		port@1 {
			reg = <1>;
			#address-cells = <1>;
			#size-cells = <0>;

			dphy_rx0_out: endpoint@0 {
				reg = <0>;
				remote-endpoint = <&isp0_mipi_in>;
			};
		};
	};
};

&rgb {

	compatible = "rockchip,px30-rgb";
	status = "okay";
	pinctrl-names = "default","sleep";
	pinctrl-0 = <&rgb_pin_m0 &lcdc_rgb565_m0_data_pins>;
	pinctrl-1 = <&lcdc_m0_sleep_pins>;

	ports {
		#address-cells = <0x01>;
		#size-cells = <0x00>;

		port@0 {
			reg = <0x00>;
			#address-cells = <0x01>;
			#size-cells = <0x00>;

			rgb_in_vopb: endpoint@0 {
				reg = <0x00>;
				remote-endpoint = <&vopb_out_rgb>;
				status = "okay";
			};

			rgb_in_vopl: endpoint@1 {
				reg = <0x01>;
				remote-endpoint = <&vopl_out_rgb>;
			};
		};

		port@1 {
			reg = <0x01>;

			rgb_out_panel: endpoint {
				remote-endpoint = <&panel_in_rgb>;
			};
		};
	};

};

&grf{
	/delete-property/ lvds;
};
//Perfromance
&cpu0_opp_table{

	/delete-property/ opp-1248000000;
	/delete-property/ opp-1296000000;
	/delete-property/ opp-1416000000;
	/delete-property/ opp-1512000000;
	/delete-property/ rockchip,temp-hysteresis;
	/delete-property/ rockchip,low-temp;
	/delete-property/ rockchip,low-temp-min-volt;
	/delete-property/ low-temp-adjust-volt;
};

&dmc_opp_table{
	opp_332000000 {
		opp-hz = <0x00 0x13c9eb00>;
		opp-microvolt = <0xe7ef0>;
		opp-microvolt-L0 = <0xe7ef0>;
		opp-microvolt-L1 = <0xe7ef0>;
		opp-microvolt-L2 = <0xe7ef0>;
		opp-microvolt-L3 = <0xe7ef0>;
	};
	opp_450000000: opp-450000000 {
		opp-hz = <0x00 0x1ad27480>;
		opp-microvolt = <0xf4240>;
		opp-microvolt-L0 = <0xf4240>;
		opp-microvolt-L1 = <0xf4240>;
		opp-microvolt-L2 = <0xf4240>;
		opp-microvolt-L3 = <0xf4240>;
	};
	opp-666000000 {
		status = "disabled";
	};
};

&dmc{

	system-status-freq = <SYS_STATUS_NORMAL 0x510e0>;
	auto-min-freq = <332000>;
	auto-freq-en = <0>;
	vop-dclk-mode = <1>;
};

